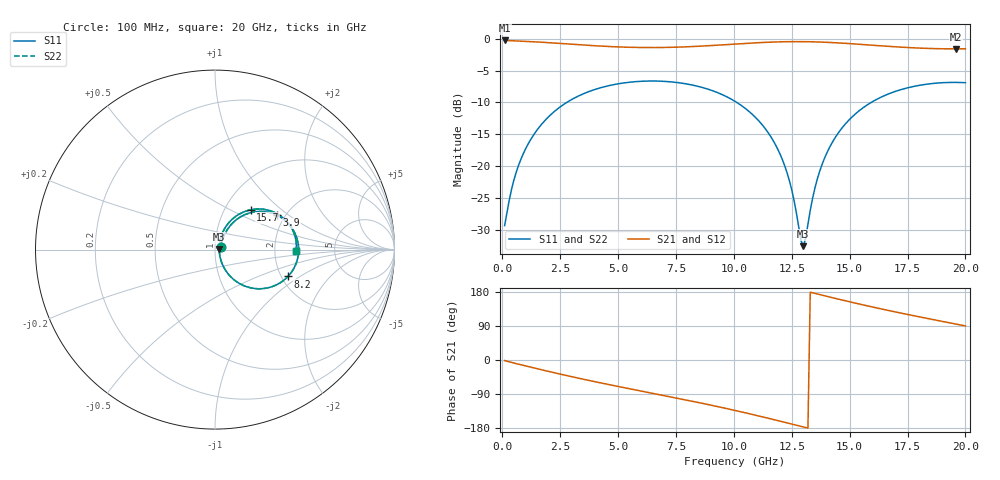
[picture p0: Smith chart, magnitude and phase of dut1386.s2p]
! Touchstone file exported from HFSS 2026.1.0
!  File:  C:/ffzhzh/LocalFiles/Ansys_Project_Files/temp_train_TSV_RDL_1386_1783349106_48288.aedt
!  Generated:  10:59:04 PM Jul  6, 2026
!  Design:  TSV_RDL
!  Project:  temp_train_TSV_RDL_1386_1783349106_48288
! Variables:
!  h_bsmrdl = 2.03um
!  h_ox = 20um
!  h_rdl = 5um
!  h_sub = 75.44um
!  h_tmrdl = 2.36um
!  h_tsv = 75.44um
!  h_via = 3um
!  l_bsmrdl = 408.7um
!  l_sub = 4581.51um
!  l_tmrdl = 704.12um
!  m_sub = 200um
!  pitch = 40.31um
!  r_tsv = 4.78um
!  s_tmrdl = 10um
!  w_bsmrdl = 24.47um
!  w_sub = 500um
!  w_tmrdl = 21.84um
!  x_tsv_center1 = 715.04um
!  x_tsv_center2 = 1148.21um
!  x_tsv_center3 = 1874.17um
!  x_tsv_center4 = 2307.34um
!  x_tsv_center5 = 3033.3um
!  x_tsv_center6 = 3466.47um
# GHz S MA R 50.000000
! Terminal data exported
! Port[1] = TM_RDL1_1_T1
! Port[2] = TM_RDL5_1_T1
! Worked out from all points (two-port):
!   200 points, 100 MHz to 20 GHz, reference 50 ohm
!   highest |S21| = -0.27 dB at 100 MHz (marker M1); lowest = -1.6 dB at 19.6 GHz (marker M2)
!   |S21| within 3 dB of the highest: start of sweep to end of sweep
!   lowest |S11| = -32.6 dB at 13 GHz (marker M3), VSWR 1.05, Z = 52.4 + j0.17 ohm
!   |S11| at or under -10 dB: start of sweep to 2.784 GHz; 10.13 GHz to 15.93 GHz (5.803 GHz wide, 44.5 % of centre)
!   |S22| runs from -32.6 to -6.6 dB; largest |S21 - S12| = 1.7e-14
!   S11 on the Smith chart (normalised r, x): 100 MHz: 1.06, +0.03; 3.9 GHz: 1.81, +0.82; 8.2 GHz: 2.17, -0.80; 15.7 GHz: 1.32, +0.64; 20 GHz: 2.65, -0.07
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0.1  0.03417 23.9  0.9691 -1.6  0.9691 -1.6  0.03417 23.9
! Gamma 0 0 0 0
! Port Impedance 50 0 50 0
0.6  0.08953 57.0  0.9609 -9.5  0.9609 -9.5  0.08953 57.0
1.2  0.1588 57.5  0.9496 -18.5  0.9496 -18.5  0.1588 57.5
2.2  0.2639 48.6  0.9262 -33.0  0.9262 -33.0  0.264 48.6
3.5  0.3697 33.8  0.8924 -50.8  0.8924 -50.8  0.3698 33.8
3.9  0.3943 29.1  0.8829 -56.0  0.8829 -56.0  0.3943 29.1
5.4  0.4537 11.9  0.8574 -74.7  0.8574 -74.7  0.4538 11.9
6.8  0.4647 -4.0  0.8528 -91.6  0.8528 -91.6  0.4647 -4.0
8.2  0.4333 -20.2  0.8677 -108.8  0.8677 -108.8  0.4334 -20.2
10.1  0.3186 -43.1  0.9092 -133.8  0.9092 -133.8  0.3186 -43.2
11.1  0.2244 -55.2  0.9317 -148.0  0.9317 -148.0  0.2244 -55.2
11.9  0.1356 -62.7  0.9443 -159.9  0.9443 -159.9  0.1356 -62.8
12.4  0.07688 -62.2  0.9483 -167.5  0.9483 -167.5  0.07689 -62.3
12.9  0.0261 -23.0  0.9488 -175.1  0.9488 -175.1  0.02601 -23.2
13  0.02358 3.9  0.9484 -176.7  0.9484 -176.7  0.02346 3.8
13.4  0.0559 60.2  0.9456 177.3  0.9456 177.3  0.05581 60.3
13.8  0.102 65.9  0.9406 171.2  0.9406 171.2  0.1019 66.0
14.3  0.1591 63.6  0.9317 163.7  0.9317 163.7  0.159 63.6
15.7  0.2974 48.2  0.8969 143.7  0.8969 143.7  0.2974 48.2
16.7  0.3702 36.3  0.8707 130.4  0.8707 130.4  0.3702 36.3
19.6  0.4542 3.2  0.8323 94.7  0.8323 94.7  0.4543 3.2
20  0.4517 -1.3  0.8332 89.9  0.8332 89.9  0.4518 -1.3
